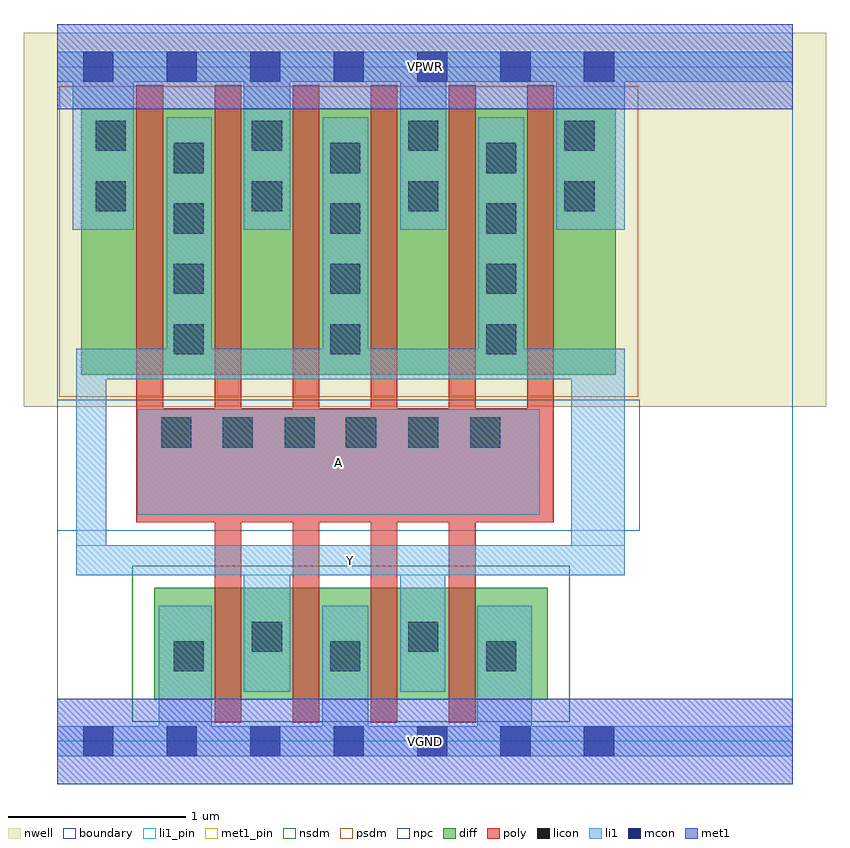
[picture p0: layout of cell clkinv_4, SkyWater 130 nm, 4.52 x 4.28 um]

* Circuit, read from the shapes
.subckt clkinv_4 A VGND VPWR Y
XM1 Y A VGND VSUBS sky130_fd_pr__nfet_01v8 w=0.63 l=0.15 m=4
XM2 Y A VPWR n1 sky130_fd_pr__pfet_01v8 w=1.5 l=0.15 m=6
.ends

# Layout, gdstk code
import gdstk
lib = gdstk.Library(unit=1e-6, precision=1e-09)
def R(c, l, rs):  # rectangles x0, y0, x1, y1
    for r in rs: c.add(gdstk.rectangle(r[:2], r[2:], *l))
def A(c, l, x, y, w, h, nx, ny, dx, dy):  # array of equal rectangles
    R(c, l, [(x+i*dx, y+j*dy, x+i*dx+w, y+j*dy+h) for i in range(nx) for j in range(ny)])
nwell = (64, 20)
diff = (65, 20)
poly = (66, 20)
licon = (66, 44)
li1_pin = (67, 16)
li1 = (67, 20)
mcon = (67, 44)
met1_pin = (68, 16)
met1 = (68, 20)
nsdm = (93, 44)
psdm = (94, 20)
npc = (95, 20)
boundary = (235, 4)

clkinv_4 = lib.new_cell('clkinv_4')
R(clkinv_4, nwell, [(-0.19,1.885,4.33,3.99), (0,1.885,4.14,3.99)])
R(clkinv_4, diff, [(0.545,0.235,2.76,0.865), (0.135,2.065,3.145,3.565)])
A(clkinv_4, poly, 0.885, 0.105, 0.15, 3.59, 4, 1, 0.44, 0)
R(clkinv_4, poly, [(0.445,1.235,2.795,1.875), (0.445,1.235,0.595,3.695), (2.645,1.235,2.795,3.695)])
A(clkinv_4, licon, 0.655, 0.395, 0.17, 0.17, 3, 2, 0.88, 1.785)
A(clkinv_4, licon, 1.625, 1.655, 0.17, 0.17, 3, 1, 0.35, 0)
A(clkinv_4, licon, 0.655, 2.52, 0.17, 0.17, 3, 3, 0.88, 0.34)
A(clkinv_4, licon, 0.215, 2.985, 0.17, 0.17, 4, 2, 0.88, 0.34)
R(clkinv_4, licon, [(1.095,0.505,1.265,0.675), (1.975,0.505,2.145,0.675), (0.585,1.655,0.755,1.825), (0.93,1.655,1.1,1.825), (1.28,1.655,1.45,1.825)])
R(clkinv_4, li1_pin, [(0.105,0.935,3.195,1.105), (0.45,1.275,2.715,1.87)])
R(clkinv_4, li1, [(0,-0.085,4.14,0.085), (0.57,-0.085,0.87,0.765), (1.49,-0.085,1.75,0.765), (2.365,-0.085,2.67,0.765), (1.05,0.28,1.31,1.105), (1.93,0.28,2.185,1.105), (0.105,0.935,3.195,1.105), (0.105,0.935,0.275,2.21), (2.895,0.935,3.195,2.21), (0.45,1.275,2.715,1.87), (0.105,2.04,3.195,2.21), (0.615,2.04,0.87,3.515), (1.495,2.04,1.75,3.515), (2.37,2.04,2.63,3.515), (0.085,2.88,0.43,3.885), (1.05,2.88,1.31,3.885), (1.93,2.88,2.19,3.885), (2.81,2.88,3.195,3.885), (0,3.715,4.14,3.885)])
A(clkinv_4, mcon, 0.145, -0.085, 0.17, 0.17, 7, 2, 0.47, 3.8)
R(clkinv_4, met1_pin, [(0,-0.24,4.14,0.24), (0,3.56,4.14,4.04)])
R(clkinv_4, met1, [(0,-0.24,4.14,0.24), (0,3.56,4.14,4.04)])
R(clkinv_4, nsdm, [(0.42,0.11,2.885,0.99)])
R(clkinv_4, psdm, [(0.01,1.94,3.27,3.69)])
R(clkinv_4, npc, [(0,1.185,3.28,1.925)])
R(clkinv_4, boundary, [(0,0,4.14,3.8)])
clkinv_4.add(gdstk.Label('A', (1.582,1.572), layer=67, texttype=5))
clkinv_4.add(gdstk.Label('Y', (1.65,1.02), layer=67, texttype=5))
clkinv_4.add(gdstk.Label('VPWR', (2.07,3.8), layer=68, texttype=5))
clkinv_4.add(gdstk.Label('VGND', (2.07,0), layer=68, texttype=5))
clkinv_4.add(gdstk.Label('A', (1.582,1.572), layer=67, texttype=16))
clkinv_4.add(gdstk.Label('Y', (1.65,1.02), layer=67, texttype=16))
clkinv_4.add(gdstk.Label('VPWR', (2.07,3.8), layer=68, texttype=16))
clkinv_4.add(gdstk.Label('VGND', (2.07,0), layer=68, texttype=16))

lib.write_gds('clkinv_4.gds')
